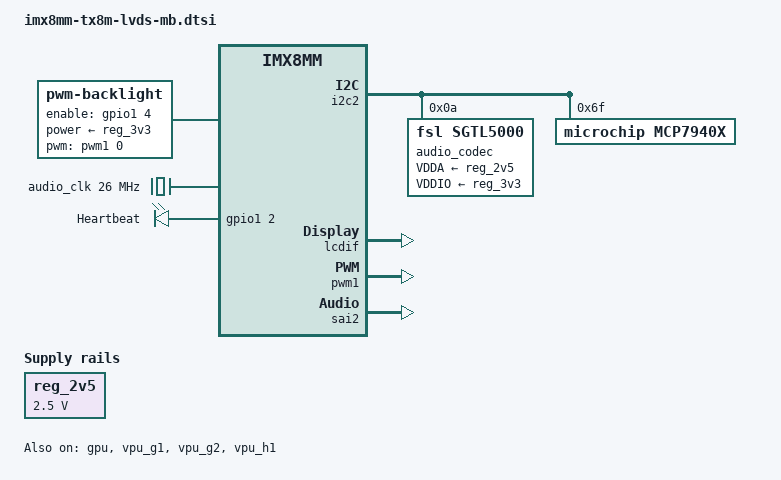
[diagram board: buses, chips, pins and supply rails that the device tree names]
// SPDX-License-Identifier: (GPL-2.0 OR MIT)
/*
 * Copyright 2019 Markus Bauer <MB@KARO-electronics.de>
 *
 */

#include <dt-bindings/interrupt-controller/irq.h>
#include <dt-bindings/pwm/pwm.h>

/ {
	backlight: backlight {
		compatible = "pwm-backlight";
		pinctrl-names = "default";
		pinctrl-0 = <&pinctrl_lcd_en>;
		pwms = <&pwm1 0 500000>;
		turn-on-delay-ms = <35>;
		enable-gpios = <&gpio1 4 GPIO_ACTIVE_HIGH>;
		power-supply = <&reg_3v3>;
		brightness-levels = < 0	 1  2  3  4  5	6  7  8	 9
				     10 11 12 13 14 15 16 17 18 19
				     20 21 22 23 24 25 26 27 28 29
				     30 31 32 33 34 35 36 37 38 39
				     40 41 42 43 44 45 46 47 48 49
				     50 51 52 53 54 55 56 57 58 59
				     60 61 62 63 64 65 66 67 68 69
				     70 71 72 73 74 75 76 77 78 79
				     80 81 82 83 84 85 86 87 88 89
				     90 91 92 93 94 95 96 97 98 99
				    100>;
		default-brightness-level = <50>;
	};

	clocks {
		audio_clk: clock@6 {
			compatible = "fixed-clock";
			reg = <6>;
			#clock-cells = <0>;
			clock-frequency = <26000000>;
		};
	};

	leds {
		compatible = "gpio-leds";

		stk5led {
			label = "Heartbeat";
			pinctrl-names = "default";
			pinctrl-0 = <&pinctrl_stk5led>;
			gpios = <&gpio1 2 GPIO_ACTIVE_HIGH>;
			linux,default-trigger = "heartbeat";
		};
	};

        mcp_clock: mcp-clock {
		compatible = "fixed-clock";
		#clock-cells = <0>;
		clock-frequency = <16000000>;
	};

	reg_2v5: regulator-2v5 {
		compatible = "regulator-fixed";
		regulator-name = "2V5";
		regulator-min-microvolt = <2500000>;
		regulator-max-microvolt = <2500000>;
		regulator-always-on;
		power-supply = <&reg_3v3>;
	};

	sound {
		compatible = "karo,imx8mm-tx8m-sgtl5000",
			     "simple-audio-card";
		simple-audio-card,name = "imx8mm-tx8m-sgtl5000-audio";
		simple-audio-card,format = "i2s";
		simple-audio-card,bitclock-master = <&codec_dai>;
		simple-audio-card,frame-master = <&codec_dai>;
		simple-audio-card,widgets =
			"Microphone", "Mic Jack",
			"Line", "Line In",
			"Line", "Line Out",
			"Headphone", "Headphone Jack";
		simple-audio-card,routing =
			"MIC_IN", "Mic Jack",
			"Mic Jack", "Mic Bias",
			"Headphone Jack", "HP_OUT";

		cpu_dai: simple-audio-card,cpu {
			sound-dai = <&sai2>;
		};

		codec_dai: simple-audio-card,codec {
			sound-dai = <&audio_codec>;
		};
	};
};

&ecspi2 {
	pinctrl-names = "default";
	pinctrl-0 = <&pinctrl_ecspi2>;
	spi-max-frequency = <25000000>;
	cs-gpios = <&gpio5 13 GPIO_ACTIVE_LOW>;
	status = "disabled";

	can0: can@0 {
		compatible = "microchip,mcp2515";
		reg = <0>;
		pinctrl-names = "default";
		pinctrl-0 = <&pinctrl_can0>;
		clocks = <&mcp_clock>;
		interrupt-parent = <&gpio3>;
		interrupts = <11 IRQ_TYPE_LEVEL_LOW>;
		spi-max-frequency = <10000000>;
	};
};

&gpu {
	status = "okay";
};

&i2c2 {
	audio_codec: sgtl5000@a {
		compatible = "fsl,sgtl5000";
		reg = <0xa>;
		VDDA-supply = <&reg_2v5>;
		VDDIO-supply = <&reg_3v3>;
		#sound-dai-cells = <0>;
		clocks = <&audio_clk>;
	};

	mcp7940x@6f {
		compatible = "microchip,mcp7940x";
		reg = <0x6f>;
	};
};

&iomuxc {
	pinctrl_can0: can0grp {
		fsl,pins = <
			MX8MM_IOMUXC_NAND_CLE_GPIO3_IO5		0x156
			MX8MM_IOMUXC_ECSPI2_SS0_GPIO5_IO13	0x156
		>;

	};

	pinctrl_ecspi2: ecspi2grp {
		fsl,pins = <
			MX8MM_IOMUXC_ECSPI2_SCLK_ECSPI2_SCLK	0x156
			MX8MM_IOMUXC_ECSPI2_MOSI_ECSPI2_MOSI	0x156
			MX8MM_IOMUXC_ECSPI2_MISO_ECSPI2_MISO	0x156
		>;

	};
};

&lcdif {
	status = "okay";
};

&pwm1 {
	pinctrl-names = "default";
	pinctrl-0 = <&pinctrl_pwm1>;
	status = "okay";
};

&sai2 {
	pinctrl-names = "default";
	pinctrl-0 = <&pinctrl_sai2>;
	#sound-dai-cells = <0>;
	status = "okay";
};

&usdhc2 {
	pinctrl-0 = <&pinctrl_usdhc2>;
	pinctrl-1 = <&pinctrl_usdhc2_100mhz>;
	pinctrl-2 = <&pinctrl_usdhc2_200mhz>;
	/delete-property/ cd-gpios;
	no-mmc;
};

&vpu_g1 {
	status = "okay";
};

&vpu_g2 {
	status = "okay";
};

&vpu_h1 {
	status = "okay";
};

&iomuxc {
	pinctrl_pwm1: pwm1grp {
		fsl,pins = <
			MX8MM_IOMUXC_GPIO1_IO01_PWM1_OUT		0x06
		>;
	};

	pinctrl_sai2: sai2grp {
		fsl,pins = <
			MX8MM_IOMUXC_SAI2_RXD0_SAI2_RX_DATA0		0xd6
			MX8MM_IOMUXC_SAI2_TXD0_SAI2_TX_DATA0		0xd6
			MX8MM_IOMUXC_SAI2_TXC_SAI2_TX_BCLK		0xd6
			MX8MM_IOMUXC_SAI2_TXFS_SAI2_TX_SYNC		0xd6
		>;
	};

	pinctrl_stk5led: stk5ledgrp {
		fsl,pins = <
			MX8MM_IOMUXC_GPIO1_IO02_GPIO1_IO2		0x06
		>;
	};

	pinctrl_lcd_en: lcd-engrp {
		fsl,pins = <
			MX8MM_IOMUXC_GPIO1_IO04_GPIO1_IO4		0x146
		>;
	};
};
